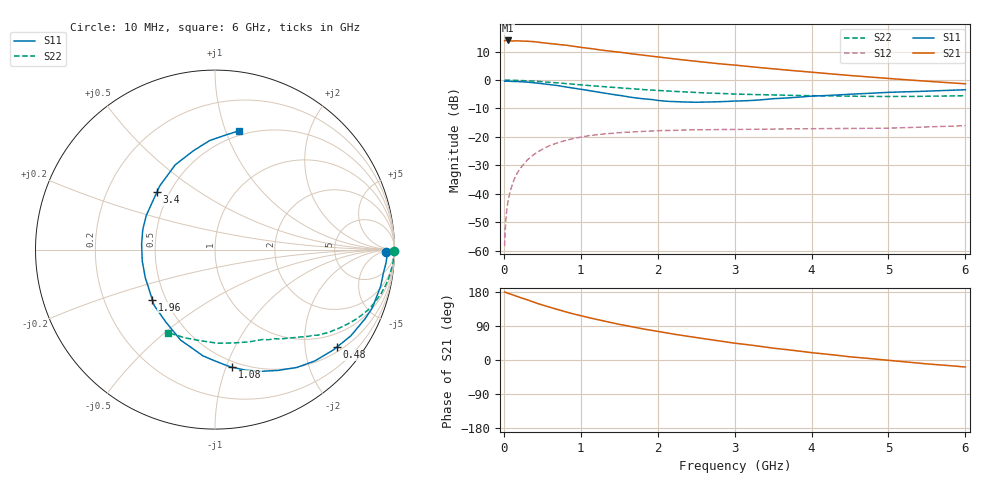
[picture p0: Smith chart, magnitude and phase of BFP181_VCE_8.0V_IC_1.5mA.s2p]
! Infineon Technologies  Discrete & RF Semiconductors
! BFP181
! VCE = 8.0 V,  IC =  1.5 mA
! Common Emitter S-Parameters:  Jan 2016
# GHz  S  MA  R  50
!  f  S11  S21  S12  S22
! GHz  MAG  ANG  MAG  ANG  MAG  ANG  MAG  ANG
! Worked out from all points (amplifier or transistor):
!   210 points, 10 MHz to 6 GHz, reference 50 ohm
!   highest |S21| = 13.9 dB at 50 MHz (marker M1)
!   |S21| within 3 dB of that: start of sweep to 1.167 GHz
!   unconditionally stable (mu >= 1): 2.847 GHz to end of sweep
!   at 185 MHz: K = 0.08, MSG = 23.0 dB, |S12| = -32.2 dB
!   at 1.52 GHz: K = 0.59, MSG = 14.1 dB, |S12| = -18.5 dB
!   at 6 GHz: K = 1.19, MAG = 4.7 dB, |S12| = -16.0 dB
!   S11 on the Smith chart (normalised r, x): 10 MHz: 38, -13; 480 MHz: 0.61, -2.72; 1.08 GHz: 0.45, -1.05; 1.96 GHz: 0.42, -0.29; 3.4 GHz: 0.43, +0.35; 6 GHz: 0.46, +1.12
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0.01  0.954 -0.9  4.921 179.3  0.0012 70.2  0.9965 -0.3
0.025  0.9591 -2.2  4.968 178.5  0.0033 94.7  0.9947 -0.9
0.05  0.957 -4.0  4.97 176.3  0.0068 89.7  0.9942 -2.0
0.11  0.9461 -9.1  4.865 172.3  0.0146 82.7  0.9942 -4.3
0.195  0.939 -15.7  4.877 166.2  0.0258 79.9  0.9862 -7.5
0.3  0.9208 -24.7  4.821 159.3  0.0387 74.5  0.9728 -11.4
0.4  0.8962 -32.5  4.728 151.7  0.0502 69.4  0.9565 -15.1
0.48  0.8691 -38.8  4.569 146.5  0.0586 65.1  0.9402 -17.7
0.6  0.8337 -48.0  4.413 139.1  0.0708 60.2  0.9164 -21.6
0.8  0.7589 -62.5  4.121 127.3  0.0865 52.1  0.8688 -27.1
1.02  0.6831 -77.5  3.727 115.9  0.1003 44.5  0.8181 -32.3
1.08  0.6619 -81.7  3.655 112.8  0.1037 42.6  0.8057 -33.6
1.5  0.5402 -110.6  3.103 94.1  0.1186 32.2  0.7263 -41.1
1.8  0.4704 -130.8  2.746 82.4  0.1254 27.0  0.6809 -45.6
1.96  0.4466 -141.4  2.58 76.9  0.1281 24.3  0.6617 -47.8
2.02  0.4357 -145.4  2.52 74.8  0.1288 23.5  0.6548 -48.6
2.58  0.409 177.0  2.083 56.9  0.1333 17.1  0.5966 -56.3
3.1  0.4305 148.6  1.777 42.1  0.1357 12.9  0.5623 -63.6
3.4  0.456 135.1  1.622 34.2  0.1373 11.1  0.551 -68.1
4.1  0.5281 112.4  1.339 17.4  0.1397 7.8  0.5276 -80.4
5.1  0.6134 91.2  1.043 -2.7  0.144 6.5  0.5138 -100.5
6  0.6758 78.4  0.859 -18.5  0.1576 5.5  0.5312 -119.6
